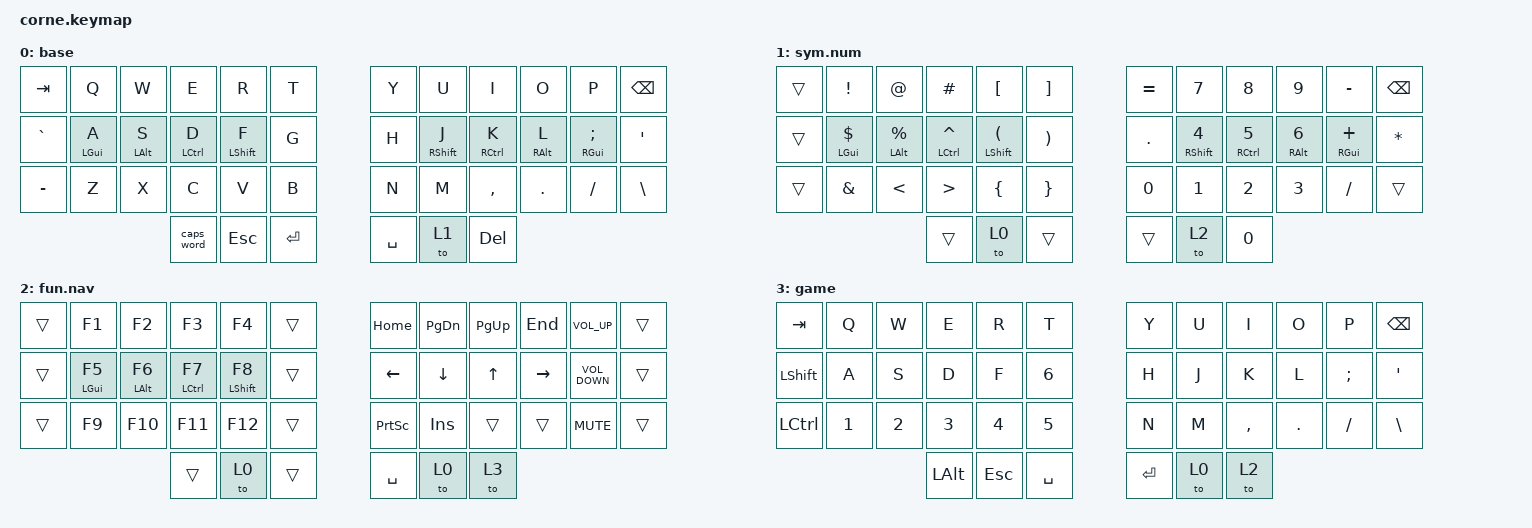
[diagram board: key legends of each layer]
/*
 * Copyright (c) 2020 The ZMK Contributors
 *
 * SPDX-License-Identifier: MIT
 */

#include <behaviors.dtsi>
#include <dt-bindings/zmk/keys.h>

#define MEH LC(LS(LALT))

// Key positions
// -----------------------------------------------------------------------------------------
// |  0   |  1  |  2  |  3  |  4  |  5  |   |  6  |  7  |  8  |  9  | 10  |  11  |
// |  12  | 13  | 14  | 15  | 16  | 17  |   | 18  | 19  | 20  | 21  | 22  |  23  |
// |  24  | 25  | 26  | 27  | 28  | 29  |   | 30  | 31  | 32  | 33  | 34  |  35  |
//                    | 36  | 37  | 38  |   | 39  | 40  | 41  |

/ {
    behaviors {
        // Same-hand keys pressed within the tapping term resolve as taps, so rolls don't fire mods
        hml: home_row_mod_left {
            compatible = "zmk,behavior-hold-tap";
            #binding-cells = <2>;
            flavor = "balanced";
            tapping-term-ms = <280>;
            quick-tap-ms = <175>;
            require-prior-idle-ms = <150>;
            bindings = <&kp>, <&kp>;
            hold-trigger-key-positions = <6 7 8 9 10 11 18 19 20 21 22 23 30 31 32 33 34 35 36 37 38 39 40 41>;
            hold-trigger-on-release;
        };

        hmr: home_row_mod_right {
            compatible = "zmk,behavior-hold-tap";
            #binding-cells = <2>;
            flavor = "balanced";
            tapping-term-ms = <280>;
            quick-tap-ms = <175>;
            require-prior-idle-ms = <150>;
            bindings = <&kp>, <&kp>;
            hold-trigger-key-positions = <0 1 2 3 4 5 12 13 14 15 16 17 24 25 26 27 28 29 36 37 38 39 40 41>;
            hold-trigger-on-release;
        };
        // Shift follows a letter mid-word, so a prior-idle window would force it to tap;
        // the opposite-hand trigger and balanced flavor still guard against misfires
        hsl: home_row_shift_left {
            compatible = "zmk,behavior-hold-tap";
            #binding-cells = <2>;
            flavor = "balanced";
            tapping-term-ms = <280>;
            quick-tap-ms = <175>;
            bindings = <&kp>, <&kp>;
            hold-trigger-key-positions = <6 7 8 9 10 11 18 19 20 21 22 23 30 31 32 33 34 35 36 37 38 39 40 41>;
            hold-trigger-on-release;
        };

        hsr: home_row_shift_right {
            compatible = "zmk,behavior-hold-tap";
            #binding-cells = <2>;
            flavor = "balanced";
            tapping-term-ms = <280>;
            quick-tap-ms = <175>;
            bindings = <&kp>, <&kp>;
            hold-trigger-key-positions = <0 1 2 3 4 5 12 13 14 15 16 17 24 25 26 27 28 29 36 37 38 39 40 41>;
            hold-trigger-on-release;
        };
    };

    keymap {
        compatible = "zmk,keymap";

        default_layer {
            // -----------------------------------------------------------------------------------------
            // | TAB  |  Q  |  W  |  E  |  R  |  T  |   |  Y  |  U  |  I  |  O  |  P  | BKSP |
            // |  `   | A/G | S/A | D/C | F/S |  G  |   |  H  | J/S | K/C | L/A | ;/G |  '   |
            // |  -   |  Z  |  X  |  C  |  V  |  B  |   |  N  |  M  |  ,  |  .  |  /  |  \   |
            //                    | CW  | ESC | ENT |   | SPC | TO1 | DEL |

            display-name = "base";
            bindings = <
&kp TAB    &kp Q        &kp W        &kp E         &kp R         &kp T      &kp Y    &kp U         &kp I         &kp O        &kp P           &kp BSPC
&kp GRAVE  &hml LGUI A  &hml LALT S  &hml LCTRL D  &hsl LSHFT F  &kp G      &kp H    &hsr RSHFT J  &hmr RCTRL K  &hmr RALT L  &hmr RGUI SEMI  &kp SQT
&kp MINUS  &kp Z        &kp X        &kp C         &kp V         &kp B      &kp N    &kp M         &kp COMMA     &kp DOT      &kp FSLH        &kp BACKSLASH
                                     &caps_word    &kp ESC       &kp ENTER  &kp SPC  &to 1         &kp DEL
            >;
        };

        sym_num_layer {
            // -----------------------------------------------------------------------------------------
            // |      |  !  |  @  |  #  |  [  |  ]  |   |  =  |  7  |  8  |  9  |  -  | BKSP |
            // |      | $/G | %/A | ^/C | (/S |  )  |   |  .  | 4/S | 5/C | 6/A | +/G |  *   |
            // |      |  &  |  <  |  >  |  {  |  }  |   |  0  |  1  |  2  |  3  |  /  |      |
            //                    |     | TO0 |     |   |     | TO2 |  0  |

            display-name = "sym.num";
            bindings = <
&trans  &kp EXCL          &kp AT             &kp HASH          &kp LBKT         &kp RBKT  &kp EQUAL  &kp N7         &kp N8         &kp N9        &kp MINUS       &kp BSPC
&trans  &hml LGUI DOLLAR  &hml LALT PERCENT  &hml LCTRL CARET  &hsl LSHFT LPAR  &kp RPAR  &kp DOT    &hsr RSHFT N4  &hmr RCTRL N5  &hmr RALT N6  &hmr RGUI PLUS  &kp STAR
&trans  &kp AMPERSAND     &kp LESS_THAN      &kp GREATER_THAN  &kp LBRC         &kp RBRC  &kp N0     &kp N1         &kp N2         &kp N3        &kp FSLH        &trans
                                             &trans            &to 0            &trans    &trans     &to 2          &kp N0
            >;
        };

        fun_nav_layer {
            // -----------------------------------------------------------------------------------------
            // |      | F1  | F2  | F3  | F4  |     |   | HOME| PGDN| PGUP| END | VOL+|      |
            // |      | F5/G| F6/A| F7/C| F8/S|     |   | LFT | DWN | UP  | RGT | VOL-|      |
            // |      | F9  | F10 | F11 | F12 |     |   | PSCR| INS |     |     | MUTE|      |
            //                    |     | TO0 |     |   | SPC | TO0 | TO3 |

            display-name = "fun.nav";
            bindings = <
&trans  &kp F1        &kp F2        &kp F3         &kp F4         &trans  &kp HOME         &kp PG_DN  &kp PG_UP  &kp END    &kp C_VOLUME_UP    &trans
&trans  &hml LGUI F5  &hml LALT F6  &hml LCTRL F7  &hsl LSHFT F8  &trans  &kp LEFT         &kp DOWN   &kp UP     &kp RIGHT  &kp C_VOLUME_DOWN  &trans
&trans  &kp F9        &kp F10       &kp F11        &kp F12        &trans  &kp PRINTSCREEN  &kp INS    &trans     &trans     &kp C_MUTE         &trans
                                    &trans         &to 0          &trans  &kp SPC          &to 0      &to 3
            >;
        };

        game_layer {
            // -----------------------------------------------------------------------------------------
            // | TAB  |  Q  |  W  |  E  |  R  |  T  |   |  Y  |  U  |  I  |  O  |  P  | BKSP |
            // | SHFT |  A  |  S  |  D  |  F  |  6  |   |  H  |  J  |  K  |  L  |  ;  |  '   |
            // | CTRL |  1  |  2  |  3  |  4  |  5  |   |  N  |  M  |  ,  |  .  |  /  |  \   |
            //                    | ALT | ESC | SPC |   | ENT | TO0 | TO2 |

            display-name = "game";
            bindings = <
&kp TAB    &kp Q  &kp W  &kp E     &kp R    &kp T      &kp Y      &kp U  &kp I      &kp O    &kp P     &kp BSPC
&kp LSHFT  &kp A  &kp S  &kp D     &kp F    &kp N6     &kp H      &kp J  &kp K      &kp L    &kp SEMI  &kp SQT
&kp LCTRL  &kp N1 &kp N2 &kp N3    &kp N4   &kp N5     &kp N      &kp M  &kp COMMA  &kp DOT  &kp FSLH  &kp BACKSLASH
                         &kp LALT  &kp ESC  &kp SPC    &kp ENTER  &to 0  &to 2
            >;
        };
    };
};
